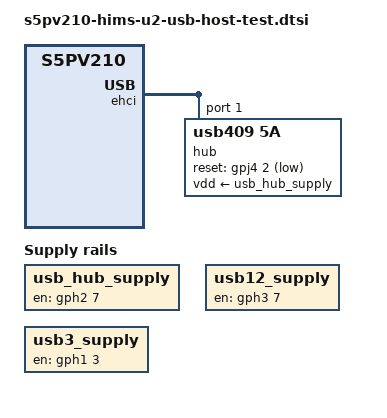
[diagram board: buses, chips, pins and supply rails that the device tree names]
// SPDX-License-Identifier: GPL-2.0
/* Experimental external hub integration. No PMIC or SYSTEM5V writes. */
/ {
    usb_hub_supply: regulator-usb-hub {
        compatible = "regulator-fixed";
        regulator-name = "usb-hub-enable";
        gpio = <&gph2 7 GPIO_ACTIVE_HIGH>;
        enable-active-high;
        pinctrl-names = "default";
        pinctrl-0 = <&usb_hub_enable_pin>;
    };
    usb12_supply: regulator-usb12 {
        compatible = "regulator-fixed";
        regulator-name = "usb12-enable";
        gpio = <&gph3 7 GPIO_ACTIVE_HIGH>;
        enable-active-high;
        regulator-always-on;
        pinctrl-names = "default";
        pinctrl-0 = <&usb12_enable_pin>;
    };
    usb3_supply: regulator-usb3 {
        compatible = "regulator-fixed";
        regulator-name = "usb3-enable";
        gpio = <&gph1 3 GPIO_ACTIVE_HIGH>;
        enable-active-high;
        regulator-always-on;
        pinctrl-names = "default";
        pinctrl-0 = <&usb3_enable_pin>;
    };
};
&pinctrl0 {
    usb_hub_enable_pin: usb-hub-enable-pins {
        samsung,pins = "gph2-7";
        samsung,pin-function = <1>;
        samsung,pin-pud = <0>;
    };
    usb12_enable_pin: usb12-enable-pins {
        samsung,pins = "gph3-7";
        samsung,pin-function = <1>;
        samsung,pin-pud = <0>;
    };
    usb3_enable_pin: usb3-enable-pins {
        samsung,pins = "gph1-3";
        samsung,pin-function = <1>;
        samsung,pin-pud = <0>;
    };
    usb_hub_reset_pin: usb-hub-reset-pins {
        samsung,pins = "gpj4-2";
        /* Shared OF node: GPIO consumer sets direction; only apply bias here. */
        samsung,pin-pud = <0>;
    };
};
&ehci {
    #address-cells = <1>;
    #size-cells = <0>;
    hub@1 {
        compatible = "usb409,5a";
        reg = <1>;
        vdd-supply = <&usb_hub_supply>;
        reset-gpios = <&gpj4 2 GPIO_ACTIVE_LOW>;
        pinctrl-names = "default";
        pinctrl-0 = <&usb_hub_reset_pin>;
    };
};
